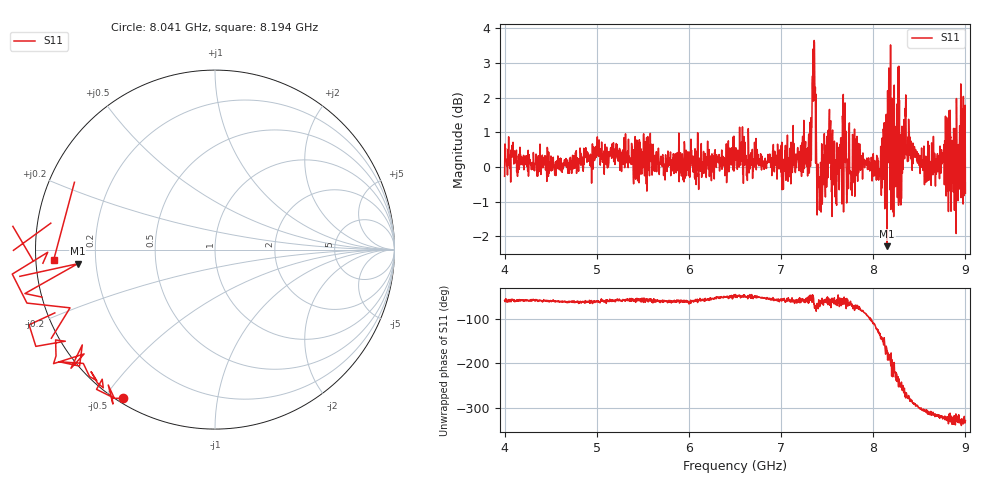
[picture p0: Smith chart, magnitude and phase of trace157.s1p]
! Created with skrf 1.8.0 (http://scikit-rf.org).
# Hz S RI R 50.0
!freq ReS11 ImS11
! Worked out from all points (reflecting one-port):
!   1601 points, 4 GHz to 9 GHz, reference 50 ohm
!   lowest |S11| = -2.3 dB at 8.15 GHz (marker M1), VSWR 7.65, Z = 6.56 - j2.52 ohm
!   phase of S11 starts at -57 deg and turns -272 deg over the sweep
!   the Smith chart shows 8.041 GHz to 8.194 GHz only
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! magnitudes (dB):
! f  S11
! 4 GHz  -0.3
! 4.094 GHz  0.3
! 4.625 GHz  -0.2
! 5.25 GHz  -0.1
! 5.875 GHz  -0.1
! 6.5 GHz  0.4
! 7.125 GHz  0.0
! 7.294 GHz  0.0
! 7.356 GHz  3.2
! 7.412 GHz  -0.5
! 7.512 GHz  1.1
! 7.609 GHz  0.0
! 7.678 GHz  -1.3
! 7.75 GHz  -0.2
! 7.85 GHz  0.0
! 8.069 GHz  -0.3
! 8.15 GHz  -2.3
! 8.178 GHz  1.3
! 8.216 GHz  1.3
! 8.259 GHz  1.8
! 8.312 GHz  1.2
! 8.334 GHz  1.4
! 8.375 GHz  0.6
! 8.694 GHz  0.3
! 8.775 GHz  0.8
! 8.919 GHz  -1.0
! 8.959 GHz  1.7
! 9 GHz  -0.8
